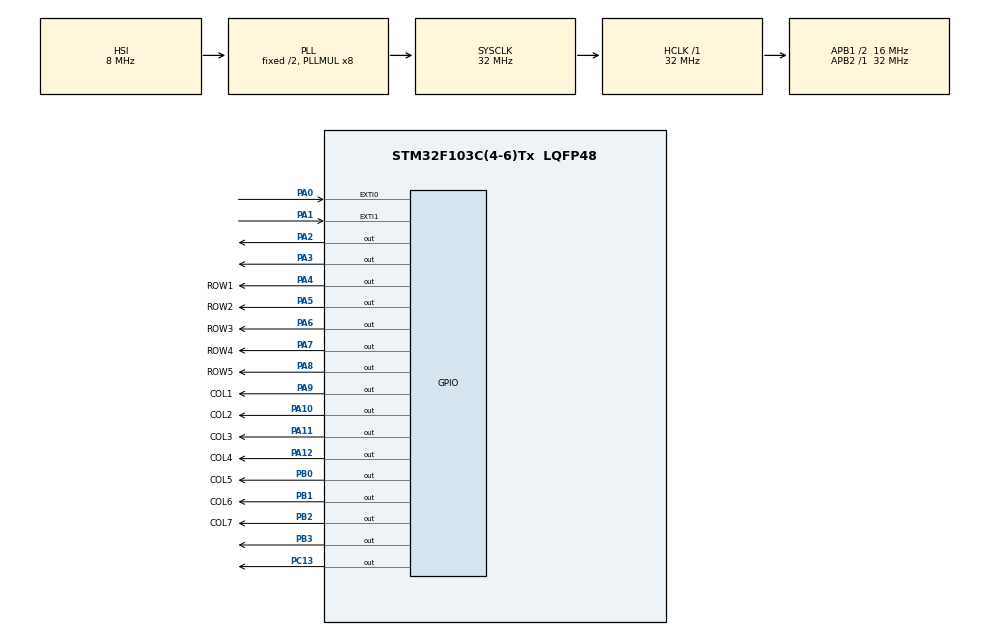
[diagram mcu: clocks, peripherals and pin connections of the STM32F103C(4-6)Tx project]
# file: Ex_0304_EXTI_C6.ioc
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Mcu.Family=STM32F1
Mcu.Name=STM32F103C(4-6)Tx
Mcu.Package=LQFP48
NVIC.EXTI0_IRQn=true\:7\:0\:true\:false\:true\:true\:true\:true
NVIC.EXTI1_IRQn=true\:6\:0\:true\:false\:true\:true\:true\:true
NVIC.PriorityGroup=NVIC_PRIORITYGROUP_4
PA0-WKUP.GPIO_PuPd=GPIO_PULLDOWN
PA0-WKUP.Signal=GPXTI0
PA1.GPIO_PuPd=GPIO_PULLDOWN
PA1.Signal=GPXTI1
PA10.GPIO_Label=COL2
PA10.PinState=GPIO_PIN_SET
PA10.Signal=GPIO_Output
PA11.GPIO_Label=COL3
PA11.PinState=GPIO_PIN_SET
PA11.Signal=GPIO_Output
PA12.GPIO_Label=COL4
PA12.PinState=GPIO_PIN_SET
PA12.Signal=GPIO_Output
PA13.Mode=Serial_Wire
PA13.Signal=SYS_JTMS-SWDIO
PA14.Mode=Serial_Wire
PA14.Signal=SYS_JTCK-SWCLK
PA2.GPIO_PuPd=GPIO_PULLDOWN
PA2.Signal=GPIO_Output
PA3.GPIO_PuPd=GPIO_PULLDOWN
PA3.Signal=GPIO_Output
PA4.GPIO_Label=ROW1
PA4.Signal=GPIO_Output
PA5.GPIO_Label=ROW2
PA5.Signal=GPIO_Output
PA6.GPIO_Label=ROW3
PA6.Signal=GPIO_Output
PA7.GPIO_Label=ROW4
PA7.Signal=GPIO_Output
PA8.GPIO_Label=ROW5
PA8.Signal=GPIO_Output
PA9.GPIO_Label=COL1
PA9.PinState=GPIO_PIN_SET
PA9.Signal=GPIO_Output
PB0.GPIO_Label=COL5
PB0.PinState=GPIO_PIN_SET
PB0.Signal=GPIO_Output
PB1.GPIO_Label=COL6
PB1.PinState=GPIO_PIN_SET
PB1.Signal=GPIO_Output
PB2.GPIO_Label=COL7
PB2.PinState=GPIO_PIN_SET
PB2.Signal=GPIO_Output
PB3.Signal=GPIO_Output
PC13-TAMPER-RTC.Signal=GPIO_Output
PD0-OSC_IN.Mode=HSE-External-Clock-Source
PD0-OSC_IN.Signal=RCC_OSC_IN
PD1-OSC_OUT.Mode=HSE-External-Clock-Source
PD1-OSC_OUT.Signal=RCC_OSC_OUT
ProjectManager.HeapSize=0x200
ProjectManager.StackSize=0x400
ProjectManager.TargetToolchain=STM32CubeIDE
RCC.AHBFreq_Value=32000000
RCC.APB1CLKDivider=RCC_HCLK_DIV2
RCC.APB1Freq_Value=16000000
RCC.APB1TimFreq_Value=32000000
RCC.APB2Freq_Value=32000000
RCC.APB2TimFreq_Value=32000000
RCC.HCLKFreq_Value=32000000
RCC.PLLMUL=RCC_PLL_MUL8
RCC.SYSCLKFreq_VALUE=32000000
RCC.SYSCLKSource=RCC_SYSCLKSOURCE_PLLCLK
RCC.USBFreq_Value=32000000
board=custom

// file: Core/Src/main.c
/* USER CODE BEGIN Header */
/**
  ******************************************************************************
  * @file           : main.c
  * @brief          : Main program body
  ******************************************************************************
  * @attention
  *
  * Copyright (c) 2025 STMicroelectronics.
  * All rights reserved.
  *
  * This software is licensed under terms that can be found in the LICENSE file
  * in the root directory of this software component.
  * If no LICENSE file comes with this software, it is provided AS-IS.
  *
  ******************************************************************************
  */
/* USER CODE END Header */
#include "main.h"

/* USER CODE BEGIN PV */
uint8_t countGlobal = 0;
uint8_t flag_exti1 = 0;
uint32_t timebuffer1 = 0;
uint32_t timebuffer2 = 0;

//void HAL_GPIO_EXTI_Callback(uint16_t GPIO_Pin){
//	if (GPIO_Pin == GPIO_PIN_0){
//
//		HAL_GPIO_WritePin(GPIOA, GPIO_PIN_2, SET);
//		HAL_GPIO_WritePin(GPIOA, GPIO_PIN_3, RESET);
//	}
//
//	if (GPIO_Pin == GPIO_PIN_1){
////		flag_exti1 = 1;
//		HAL_GPIO_WritePin(GPIOA, GPIO_PIN_2, RESET);
//		HAL_GPIO_WritePin(GPIOA, GPIO_PIN_3, SET);
//	}
//
////	if (flag_exti0 == 1 && flag_exti1 == 0){
////		HAL_GPIO_TogglePin(GPIOA, GPIO_PIN_2);
////	}else if (flag_exti0 == 0 && flag_exti1 == 1){
////		HAL_GPIO_TogglePin(GPIOA, GPIO_PIN_3);
////	}else {
////		HAL_GPIO_TogglePin(GPIOB, GPIO_PIN_3);
////
////	}
//}

void HAL_GPIO_EXTI_Callback(uint16_t GPIO_Pin)
{
  if (GPIO_Pin == GPIO_PIN_0)
  {
    // Bắt đầu xử lý PA0 (ưu tiên thấp)
    HAL_GPIO_WritePin(GPIOA, GPIO_PIN_2, GPIO_PIN_SET);
    for (volatile int i = 0; i < 3000000; i++);
    HAL_GPIO_WritePin(GPIOA, GPIO_PIN_2, GPIO_PIN_SET);
  }
  else if (GPIO_Pin == GPIO_PIN_1)
  {
    // Xử lý PA1 (ưu tiên cao)
    HAL_GPIO_WritePin(GPIOA, GPIO_PIN_2, GPIO_PIN_RESET);
    for (volatile int i = 0; i < 500000; i++);
    HAL_GPIO_WritePin(GPIOA, GPIO_PIN_2, GPIO_PIN_RESET);
  }
}

const uint8_t font[10][5] = {
    {0x07, 0x05, 0x05, 0x05, 0x07}, // 0
    {0x01, 0x01, 0x01, 0x01, 0x01}, // 1
	{0x07, 0x04, 0x07, 0x01, 0x07}, // 2
    {0x07, 0x01, 0x07, 0x01, 0x07}, // 3
	{0x01, 0x01, 0x07, 0x05, 0x05}, // 4
	{0x07, 0x01, 0x07, 0x04, 0x07}, // 5
	{0x07, 0x05, 0x07, 0x04, 0x07}, // 6
    {0x01, 0x01, 0x01, 0x01, 0x07}, // 7
    {0x07, 0x05, 0x07, 0x05, 0x07}, // 8
    {0x07, 0x01, 0x07, 0x05, 0x07}  // 9
};

uint8_t current_row = 0;
uint8_t display_buffer[5][7]; // 5 rows x 7 columns
/* USER CODE END PV */

void SystemClock_Config(void);
static void MX_GPIO_Init(void);

/* USER CODE BEGIN 0 */
void Display_Init(uint8_t num1, uint8_t num2) {
    num1 = (num1 > 9) ? 0 : num1;
    num2 = (num2 > 9) ? 0 : num2;

    for(uint8_t row = 0; row < 5; row++) {

        for(uint8_t col = 0; col < 3; col++) {
            display_buffer[row][col] = (font[num1][row] >> (2 - col)) & 0x01;
        }

        display_buffer[row][3] = 0;

        for(uint8_t col = 0; col < 3; col++) {
            display_buffer[row][col+4] = (font[num2][row] >> (2 - col)) & 0x01;
        }
    }
}

void Matrix_Scan() {
    // Tắt Row
    HAL_GPIO_WritePin(ROW1_GPIO_Port, ROW1_Pin | ROW2_Pin | ROW3_Pin | ROW4_Pin | ROW5_Pin, GPIO_PIN_RESET);

    // Tắt colum
    HAL_GPIO_WritePin(GPIOA, COL1_Pin | COL2_Pin | COL3_Pin | COL4_Pin, GPIO_PIN_SET);
    HAL_GPIO_WritePin(GPIOB, COL5_Pin | COL6_Pin | COL7_Pin, GPIO_PIN_SET);

    for(uint8_t col = 0; col < 7; col++) {
        if(display_buffer[current_row][col]) {
            if(col < 4) {
                HAL_GPIO_WritePin(GPIOA, COL1_Pin << col, GPIO_PIN_RESET);
            } else {
                HAL_GPIO_WritePin(GPIOB, COL5_Pin << (col - 4), GPIO_PIN_RESET);
            }
        }
    }

    HAL_GPIO_WritePin(GPIOA, ROW1_Pin << current_row, GPIO_PIN_SET);

    current_row = (current_row + 1) % 5;
}
/* USER CODE END 0 */

int main(void)
{

  /* MCU Configuration--------------------------------------------------------*/

  /* Reset of all peripherals, Initializes the Flash interface and the Systick. */
  HAL_Init();

  /* Configure the system clock */
  SystemClock_Config();

  /* Initialize all configured peripherals */
  MX_GPIO_Init();
  /* USER CODE BEGIN 2 */

  uint8_t count = 0;
  /* USER CODE END 2 */

  /* Infinite loop */
  while (1)
  {

    /* USER CODE BEGIN 3 */
//    if (flag_exti1)
//    {
//        HAL_GPIO_TogglePin(GPIOA, GPIO_PIN_2);
//        HAL_Delay(500);
//        flag_exti0 = 0;
//    }
//    if (flag_exti0)
//    {
//        HAL_GPIO_TogglePin(GPIOA, GPIO_PIN_3);
//        HAL_Delay(500);
//        flag_exti1 = 0;
//    }

//    uint8_t firstNum = count / 10;
//    uint8_t secNum = count % 10;
//
//    if (HAL_GetTick() - timebuffer1 > 100){
//    	Display_Init(firstNum, secNum);
//    	count ++;
//        if (count == 100){
//        	count = 0;
//        }
//        timebuffer1 = HAL_GetTick();
//    }
//
//    if (HAL_GetTick() - timebuffer2 > 2){
//    	Matrix_Scan();
//        timebuffer2 = HAL_GetTick();
//    }

	  HAL_GPIO_TogglePin(GPIOC, GPIO_PIN_13);
	  HAL_Delay(1000);

  }
  /* USER CODE END 3 */
}

void SystemClock_Config(void)
{
  RCC_OscInitTypeDef RCC_OscInitStruct = {0};
  RCC_ClkInitTypeDef RCC_ClkInitStruct = {0};

  /** Initializes the RCC Oscillators according to the specified parameters
  * in the RCC_OscInitTypeDef structure.
  */
  RCC_OscInitStruct.OscillatorType = RCC_OSCILLATORTYPE_HSI;
  RCC_OscInitStruct.HSIState = RCC_HSI_ON;
  RCC_OscInitStruct.HSICalibrationValue = RCC_HSICALIBRATION_DEFAULT;
  RCC_OscInitStruct.PLL.PLLState = RCC_PLL_ON;
  RCC_OscInitStruct.PLL.PLLSource = RCC_PLLSOURCE_HSI_DIV2;
  RCC_OscInitStruct.PLL.PLLMUL = RCC_PLL_MUL8;
  if (HAL_RCC_OscConfig(&RCC_OscInitStruct) != HAL_OK)
  {
    Error_Handler();
  }

  /** Initializes the CPU, AHB and APB buses clocks
  */
  RCC_ClkInitStruct.ClockType = RCC_CLOCKTYPE_HCLK|RCC_CLOCKTYPE_SYSCLK
                              |RCC_CLOCKTYPE_PCLK1|RCC_CLOCKTYPE_PCLK2;
  RCC_ClkInitStruct.SYSCLKSource = RCC_SYSCLKSOURCE_PLLCLK;
  RCC_ClkInitStruct.AHBCLKDivider = RCC_SYSCLK_DIV1;
  RCC_ClkInitStruct.APB1CLKDivider = RCC_HCLK_DIV2;
  RCC_ClkInitStruct.APB2CLKDivider = RCC_HCLK_DIV1;

  if (HAL_RCC_ClockConfig(&RCC_ClkInitStruct, FLASH_LATENCY_1) != HAL_OK)
  {
    Error_Handler();
  }
}

static void MX_GPIO_Init(void)
{
  GPIO_InitTypeDef GPIO_InitStruct = {0};

  /* GPIO Ports Clock Enable */
  __HAL_RCC_GPIOC_CLK_ENABLE();
  __HAL_RCC_GPIOD_CLK_ENABLE();
  __HAL_RCC_GPIOA_CLK_ENABLE();
  __HAL_RCC_GPIOB_CLK_ENABLE();

  /*Configure GPIO pin Output Level */
  HAL_GPIO_WritePin(GPIOC, GPIO_PIN_13, GPIO_PIN_RESET);

  /*Configure GPIO pin Output Level */
  HAL_GPIO_WritePin(GPIOA, GPIO_PIN_2|GPIO_PIN_3|ROW1_Pin|ROW2_Pin
                          |ROW3_Pin|ROW4_Pin|ROW5_Pin, GPIO_PIN_RESET);

  /*Configure GPIO pin Output Level */
  HAL_GPIO_WritePin(GPIOB, COL5_Pin|COL6_Pin|COL7_Pin, GPIO_PIN_SET);

  /*Configure GPIO pin Output Level */
  HAL_GPIO_WritePin(GPIOA, COL1_Pin|COL2_Pin|COL3_Pin|COL4_Pin, GPIO_PIN_SET);

  /*Configure GPIO pin Output Level */
  HAL_GPIO_WritePin(GPIOB, GPIO_PIN_3, GPIO_PIN_RESET);

  /*Configure GPIO pin : PC13 */
  GPIO_InitStruct.Pin = GPIO_PIN_13;
  GPIO_InitStruct.Mode = GPIO_MODE_OUTPUT_PP;
  GPIO_InitStruct.Pull = GPIO_NOPULL;
  GPIO_InitStruct.Speed = GPIO_SPEED_FREQ_LOW;
  HAL_GPIO_Init(GPIOC, &GPIO_InitStruct);

  /*Configure GPIO pins : PA0 PA1 */
  GPIO_InitStruct.Pin = GPIO_PIN_0|GPIO_PIN_1;
  GPIO_InitStruct.Mode = GPIO_MODE_IT_RISING;
  GPIO_InitStruct.Pull = GPIO_PULLDOWN;
  HAL_GPIO_Init(GPIOA, &GPIO_InitStruct);

  /*Configure GPIO pins : PA2 PA3 */
  GPIO_InitStruct.Pin = GPIO_PIN_2|GPIO_PIN_3;
  GPIO_InitStruct.Mode = GPIO_MODE_OUTPUT_PP;
  GPIO_InitStruct.Pull = GPIO_PULLDOWN;
  GPIO_InitStruct.Speed = GPIO_SPEED_FREQ_LOW;
  HAL_GPIO_Init(GPIOA, &GPIO_InitStruct);

  /*Configure GPIO pins : ROW1_Pin ROW2_Pin ROW3_Pin ROW4_Pin
                           ROW5_Pin COL1_Pin COL2_Pin COL3_Pin
                           COL4_Pin */
  GPIO_InitStruct.Pin = ROW1_Pin|ROW2_Pin|ROW3_Pin|ROW4_Pin
                          |ROW5_Pin|COL1_Pin|COL2_Pin|COL3_Pin
                          |COL4_Pin;
  GPIO_InitStruct.Mode = GPIO_MODE_OUTPUT_PP;
  GPIO_InitStruct.Pull = GPIO_NOPULL;
  GPIO_InitStruct.Speed = GPIO_SPEED_FREQ_LOW;
  HAL_GPIO_Init(GPIOA, &GPIO_InitStruct);

  /*Configure GPIO pins : COL5_Pin COL6_Pin COL7_Pin PB3 */
  GPIO_InitStruct.Pin = COL5_Pin|COL6_Pin|COL7_Pin|GPIO_PIN_3;
  GPIO_InitStruct.Mode = GPIO_MODE_OUTPUT_PP;
  GPIO_InitStruct.Pull = GPIO_NOPULL;
  GPIO_InitStruct.Speed = GPIO_SPEED_FREQ_LOW;
  HAL_GPIO_Init(GPIOB, &GPIO_InitStruct);

  /* EXTI interrupt init*/
  HAL_NVIC_SetPriority(EXTI0_IRQn, 7, 0);
  HAL_NVIC_EnableIRQ(EXTI0_IRQn);

  HAL_NVIC_SetPriority(EXTI1_IRQn, 6, 0);
  HAL_NVIC_EnableIRQ(EXTI1_IRQn);

}

void Error_Handler(void)
{
  __disable_irq();
  while (1)
  {
  }
}
